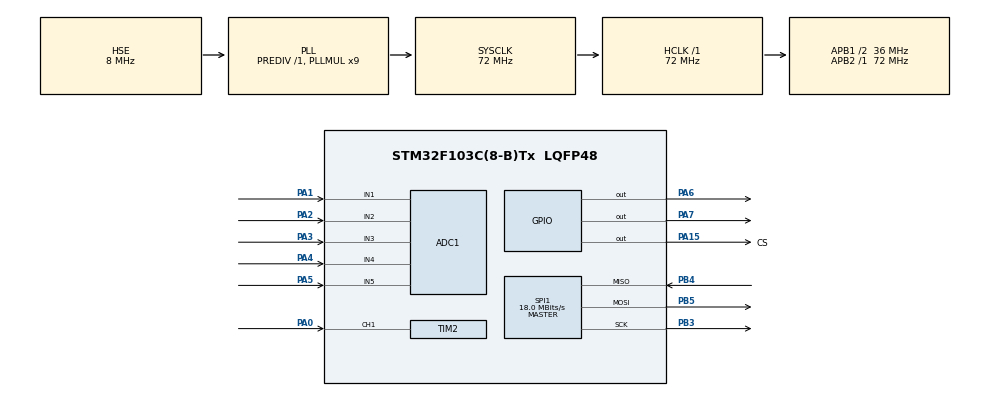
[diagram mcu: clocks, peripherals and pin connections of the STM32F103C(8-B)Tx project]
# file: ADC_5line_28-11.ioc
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ADC1.Channel-0\#ChannelRegularConversion=ADC_CHANNEL_1
ADC1.Channel-1\#ChannelRegularConversion=ADC_CHANNEL_2
ADC1.Channel-2\#ChannelRegularConversion=ADC_CHANNEL_3
ADC1.Channel-3\#ChannelRegularConversion=ADC_CHANNEL_4
ADC1.Channel-4\#ChannelRegularConversion=ADC_CHANNEL_5
ADC1.ContinuousConvMode=DISABLE
ADC1.NbrOfConversion=5
ADC1.NbrOfConversionFlag=1
ADC1.Rank-0\#ChannelRegularConversion=1
ADC1.Rank-1\#ChannelRegularConversion=2
ADC1.Rank-2\#ChannelRegularConversion=3
ADC1.Rank-3\#ChannelRegularConversion=4
ADC1.Rank-4\#ChannelRegularConversion=5
ADC1.SamplingTime-0\#ChannelRegularConversion=ADC_SAMPLETIME_1CYCLE_5
ADC1.SamplingTime-1\#ChannelRegularConversion=ADC_SAMPLETIME_1CYCLE_5
ADC1.SamplingTime-2\#ChannelRegularConversion=ADC_SAMPLETIME_1CYCLE_5
ADC1.SamplingTime-3\#ChannelRegularConversion=ADC_SAMPLETIME_1CYCLE_5
ADC1.SamplingTime-4\#ChannelRegularConversion=ADC_SAMPLETIME_1CYCLE_5
ADC1.master=1
Dma.ADC1.0.Direction=DMA_PERIPH_TO_MEMORY
Dma.ADC1.0.Instance=DMA1_Channel1
Dma.ADC1.0.MemDataAlignment=DMA_MDATAALIGN_HALFWORD
Dma.ADC1.0.MemInc=DMA_MINC_ENABLE
Dma.ADC1.0.Mode=DMA_CIRCULAR
Dma.ADC1.0.PeriphDataAlignment=DMA_PDATAALIGN_HALFWORD
Dma.ADC1.0.PeriphInc=DMA_PINC_DISABLE
Dma.ADC1.0.Priority=DMA_PRIORITY_LOW
Dma.Request0=ADC1
Mcu.Family=STM32F1
Mcu.Name=STM32F103C(8-B)Tx
Mcu.Package=LQFP48
NVIC.DMA1_Channel1_IRQn=true\:0\:0\:false\:false\:true\:false\:true\:true
NVIC.PriorityGroup=NVIC_PRIORITYGROUP_4
NVIC.SPI1_IRQn=true\:1\:0\:true\:false\:true\:true\:true\:true
NVIC.TIM2_IRQn=true\:2\:0\:true\:false\:true\:true\:true\:true
PA0-WKUP.Signal=S_TIM2_CH1_ETR
PA1.Signal=ADCx_IN1
PA13.Mode=Serial_Wire
PA13.Signal=SYS_JTMS-SWDIO
PA14.Mode=Serial_Wire
PA14.Signal=SYS_JTCK-SWCLK
PA15.GPIO_Label=CS
PA15.GPIO_PuPd=GPIO_NOPULL
PA15.PinState=GPIO_PIN_RESET
PA15.Signal=GPIO_Output
PA2.Signal=ADCx_IN2
PA3.Signal=ADCx_IN3
PA4.Signal=ADCx_IN4
PA5.Signal=ADCx_IN5
PA6.Signal=GPIO_Output
PA7.Signal=GPIO_Output
PB3.Mode=Full_Duplex_Master
PB3.Signal=SPI1_SCK
PB4.Mode=Full_Duplex_Master
PB4.Signal=SPI1_MISO
PB5.Mode=Full_Duplex_Master
PB5.Signal=SPI1_MOSI
PD0-OSC_IN.Mode=HSE-External-Oscillator
PD0-OSC_IN.Signal=RCC_OSC_IN
PD1-OSC_OUT.Mode=HSE-External-Oscillator
PD1-OSC_OUT.Signal=RCC_OSC_OUT
ProjectManager.HeapSize=0x200
ProjectManager.StackSize=0x400
ProjectManager.TargetToolchain=MDK-ARM V5.32
RCC.ADCPresc=RCC_ADCPCLK2_DIV6
RCC.AHBFreq_Value=72000000
RCC.APB1CLKDivider=RCC_HCLK_DIV2
RCC.APB1Freq_Value=36000000
RCC.APB1TimFreq_Value=72000000
RCC.APB2Freq_Value=72000000
RCC.APB2TimFreq_Value=72000000
RCC.HCLKFreq_Value=72000000
RCC.PLLMUL=RCC_PLL_MUL9
RCC.PLLSourceVirtual=RCC_PLLSOURCE_HSE
RCC.SYSCLKFreq_VALUE=72000000
RCC.SYSCLKSource=RCC_SYSCLKSOURCE_PLLCLK
RCC.USBFreq_Value=72000000
SH.ADCx_IN1.0=ADC1_IN1,IN1
SH.ADCx_IN2.0=ADC1_IN2,IN2
SH.ADCx_IN3.0=ADC1_IN3,IN3
SH.ADCx_IN4.0=ADC1_IN4,IN4
SH.ADCx_IN5.0=ADC1_IN5,IN5
SH.S_TIM2_CH1_ETR.0=TIM2_CH1,Input_Capture1_from_TI1
SPI1.BaudRatePrescaler=SPI_BAUDRATEPRESCALER_4
SPI1.CalculateBaudRate=18.0 MBits/s
SPI1.Direction=SPI_DIRECTION_2LINES
SPI1.Mode=SPI_MODE_MASTER
SPI1.VirtualType=VM_MASTER
TIM2.Channel-Input_Capture1_from_TI1=TIM_CHANNEL_1
TIM2.Prescaler=71
board=custom

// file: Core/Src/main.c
/* USER CODE BEGIN Header */
/**
  ******************************************************************************
  * @tacgia           : Phan Quoc Viet
  * @gmail         : phanquocviet29@gmail.com
  ******************************************************************************
  * @attention
  *
  * Copyright (c) 2023 STMicroelectronics.
  * All rights reserved.
  *
  * This software is licensed under terms that can be found in the LICENSE file
  * in the root directory of this software component.
  * If no LICENSE file comes with this software, it is provided AS-IS.
  *
  ******************************************************************************
  */
/* USER CODE END Header */
#include "main.h"

/* USER CODE BEGIN Includes */
#define spi_enable HAL_GPIO_WritePin(GPIOA,GPIO_PIN_15,GPIO_PIN_RESET);
#define spi_disable HAL_GPIO_WritePin(GPIOA,GPIO_PIN_15,GPIO_PIN_SET);
#define S2_L HAL_GPIO_WritePin(GPIOA, GPIO_PIN_6, GPIO_PIN_RESET);
#define S2_H HAL_GPIO_WritePin (GPIOA, GPIO_PIN_6, GPIO_PIN_SET);
#define S3_L HAL_GPIO_WritePin(GPIOA, GPIO_PIN_7, GPIO_PIN_RESET);
#define S3_H HAL_GPIO_WritePin(GPIOA, GPIO_PIN_7, GPIO_PIN_SET);
#define BEGIN (digital[2] == 1 && TONG == 0 && digital[1] == 0 && digital[3] == 0 && -4 < pos && pos < 4 && TONG == 0)
#define NOR1 (digital[2] == 1 && digital[1] == 0 && digital[3] == 0 && TONG == 1) // 00100
#define NOR2 (digital[0] == 0 && digital[2] == 1 && digital[1] == 1 && digital[3] == 0 && digital[4] == 0 && TONG == 1) // 01100
#define NOR3 (digital[0] == 0 && digital[1] == 0 && digital[2] == 1  && digital[3] == 1 && digital[4] == 0 && TONG == 1) // 00110
#define OVERRIGTH (digital[0] == 0 && digital[1] == 0 && digital[2] == 1 && digital[3] == 1 && digital[4] == 1 && TONG == 1) // 00010
#define OVERLEFT (digital[0] == 0 && digital[1] == 1 &&  digital[2] == 0  && digital[3] == 0 && digital[4] == 0 && TONG == 1) //01000
#define THKHUNG1 (digital[0] == 1 && digital[1] == 1 && digital[2] == 0 && TONG == 1) //11000
#define THKHUNG2 (digital[2] == 0 && digital[3] == 1 && digital[4] == 1  && TONG == 1)  //00011
#define THKHUNG3 (digital[0] == 1 && digital[1] == 1 && digital[2] == 0 && TONG == 1) //11100
#define THKHUNG4 (digital[2] == 0 && digital[3] == 1 && digital[4] == 1  && TONG == 1)  //00111
#define FIRSTOP (digital[0] == 0 && digital[1] == 1 && digital[2] == 1 && digital[3] == 1 && digital[4] == 0 && Color == 0 && TONG == 1) // 01110
#define GREEN (  digital[2] == 1 && digital[3] == 1 && digital[4] == 0 && blue == 2 && Color == 1  ) //BLUE
#define GREEN1 ( digital[1] == 1 && digital[2] == 1 && digital[3] == 1 && blue == 2 && Color == 1 ) //BLUE
#define GREEN2 (digital[1] == 1 && digital[2] == 1 && digital[3] == 0  && blue == 2 && Color == 1 ) //BLUE
#define GREEN3 ( digital[1] == 1 && digital[2] == 0 && digital[3] == 1  && blue == 2 && Color == 1 ) //BLUE
#define RED  (digital[1] == 0 && digital[2] == 1 && digital[3] == 1  && blue == 3 && Color == 1  ) //RED
#define RED1  ( digital[1] == 1 && digital[2] == 1 && digital[3] == 1 && blue == 3 && Color == 1 ) //RED
#define RED2  (digital[1] == 1 && digital[2] == 1 && digital[3] == 0 && blue == 3 && Color == 1 ) //RED
#define RED3  ( digital[1] == 1 && digital[2] == 0   && digital[3] == 0 && blue == 3 && Color == 1 ) //RED
#define KOLINE1 (digital[1] == 0 && digital[2] == 0 && digital[3] == 0 && digital[4] == 0 && digital[0] == 0 ) // 00000
#define KOLINE2 ( digital[1] == 1 && digital[2] == 1 && digital[3] == 1 && digital[4] == 1 && digital[0] == 1 ) // 11111
/* USER CODE END Includes */

/* USER CODE BEGIN PTD */

//tcrt5000 value
uint16_t u16_ADCScanVal[5],ADCValue[5];
float calib[5];
uint8_t digital[5],pre_digital[5];
uint16_t TONG = 0;
uint16_t TH ;

//color value
extern uint16_t tick ;
unsigned short	icValue = 0;
unsigned short	preIcValue = 0;
unsigned short	T = 0;
unsigned short	f[3] ;
uint16_t Color = 0;
uint16_t blue = 0;
uint16_t cnt = 0;
uint16_t time =0;

uint8_t i; //bien dem vi tri sensor
float sum=0; //tong gia tri adc
uint16_t threshold=2900; //nguong doc line den
uint8_t limit_pos=34; //gioi han sai so vi tri
uint8_t limit_left=0,limit_right=0; //gioi han cam bien do line

//input value
float vR= 300; //van toc dai mong muon (mm/s)
float wR; //van toc goc mong muon (rad/s)
float tsamp=0.01; //thoi gian lay mau (s)

//PID
float kp=0.4;
float ki=0;
float kd=0.024;
float b=186.5; //khoang cach tam 2 banh (mm)
float D=67; //duong kinh banh xe (mm)
float L=48.65; //khoang cach tu truc dong co den mat cam bien
uint16_t ymax=4095;//gia tri lon nhat cam bien tren line den
uint16_t ymin=160; //gia tri nho nhat cam bien tren nen trang
uint16_t high[5] = {4095,4095,4095,4095,4095};
uint16_t low[5] = {160,150,140,150,130};

//calculate value
float pre_e2=0,e2=0; //sai so e2
float inte2=0; //khau tich phan
float vleft=0,vright=0,wleft=0,wright=0; //van toc banh trai va banh phai
float v=0,w=0; //van toc dai va van toc goc

//position value
float weight; //trong so
float slope=0.3959; //do doc gia tri
float intercept=-0.7642; //giao diem truc hoanh
float pos=0; //gia tri vi tri tinh toan

//transmit value
uint8_t txBuffer[4] ; //mang truyen du lieu
//uint8_t dem=0;
/* USER CODE END PTD */

ADC_HandleTypeDef hadc1;
DMA_HandleTypeDef hdma_adc1;

SPI_HandleTypeDef hspi1;

TIM_HandleTypeDef htim2;

/* USER CODE BEGIN PV */

// color

/* USER CODE END PV */

void SystemClock_Config(void);
static void MX_GPIO_Init(void);
static void MX_DMA_Init(void);
static void MX_ADC1_Init(void);
static void MX_SPI1_Init(void);
static void MX_TIM2_Init(void);
/* USER CODE BEGIN PFP */

void read_ADC(void)
{
	//trai qua phai: 0->4
	sum=0;
	HAL_ADC_Start_DMA(&hadc1, (uint32_t*)u16_ADCScanVal,5);
	for (i=0;i<5;i++)
	{
		pre_digital[i]=digital[i];
		ADCValue[i]=u16_ADCScanVal[i];
		if (ADCValue[i] > threshold) digital[i]=1;
		else digital[i]=0;
	}
	calib[0] = ymin + 1*(ADCValue[0]-low[0]) ;
	calib[1] = ymin + 0.997*(ADCValue[1]-low[1]) ;
	calib[2] = ymin + 0.995*(ADCValue[2]-low[2]) ;
	calib[3] = ymin + 0.997*(ADCValue[3]-low[3]) ;
	calib[4] = ymin + 0.992*(ADCValue[4]-low[4]) ;
	sum=calib[0]+calib[1]+calib[2]+calib[3]+calib[4];
	pos = ((-34*calib[0])+(-17*calib[1])+(0*calib[2])+(17*calib[3])+(34*calib[4]))/sum;
}

void calculate_error(void)
{
	pre_e2=e2;
	e2=pos;
	w = kp*e2 + kd*(e2-pre_e2)/tsamp;
  vleft = 0.5*(2*vR - w*b);
  vright = 0.5*(2*vR + w*b);
	wleft=(vleft*60*2/D)/(2*3.14);
	wright=(vright*60*2/D)/(2*3.14);
}

void transmit_value(void)
{
	if (wleft >255) wleft=255;
	else if (wleft<0) wleft=0;
	if (wright > 255) wright=255;
	else if (wright<0) wright=0;
	txBuffer[0] = wleft ;
	txBuffer[1] = wright;
	if (pos<0)	txBuffer[2] = -pos;
	else	txBuffer[2]=pos+100;
	txBuffer[3] = TH;
	spi_enable;
	HAL_SPI_Transmit_IT(&hspi1,txBuffer,4);
}

void HAL_SPI_TxCpltCallback(SPI_HandleTypeDef *hspi)
{
	if (hspi->Instance == hspi1.Instance)
	{
		spi_disable;
	}
}

void filter(int s2, int s3) // func turn on of color sensor
	{
	if(s2 == 0 && s3 == 0){
		S2_L; S3_L;
	}
	if(s2 == 0 && s3 == 1){
		S2_L; S3_H;
	}
	if(s2 == 1 && s3 == 0){
		S2_H; S3_L;
	}
	if(s2 == 1 && s3 == 1){
		S2_H; S3_H;
	}
}

void full(void)
{
	read_ADC();
	calculate_error();
}

void run(void)
{
		HAL_Delay(12);
		full();
		//Bat dau chay
		if(BEGIN)
		{
			HAL_Delay(1500);
			full();
			if(BEGIN) //start
			{
			TH = 1;
			full();
			transmit_value();
			TONG = 1;
			}
		}
		else if( NOR1 || NOR2 || NOR3 || THKHUNG1 || THKHUNG2 || THKHUNG3 || THKHUNG4 ) //Chay binh thuong
		{
			full();
			TH = 1;
			transmit_value();
		}
		else if( OVERLEFT || OVERRIGTH)
		{
			full();
			TH = 1;
			transmit_value();
		}
		else if(FIRSTOP) // stop and read line
			{
			TH = 2;
			transmit_value();
			Color = 1;
  		HAL_TIM_IC_Start_IT(&htim2,TIM_CHANNEL_1);
			}
		else if(GREEN || GREEN1 || GREEN2 || GREEN3) // turn right
			{

			TH = 3  ;
			transmit_value();

		}
		else if(RED || RED1 || RED2 || RED3) // turn left
			{
			TH = 4;
			transmit_value();

			}
		else if (KOLINE1 || KOLINE2 )
		{
			wleft = 0;
			wright = 0;
			TH = 1;
			transmit_value();
		}
}
/* USER CODE END PFP */

void HAL_TIM_IC_CaptureCallback(TIM_HandleTypeDef *htim) // detect color
	{
   if (htim->Instance == TIM2)
		{
   if(tick == 100)
			{
			filter(0,0); //red
			icValue = __HAL_TIM_GetCompare(&htim2, TIM_CHANNEL_1);
			T = icValue - preIcValue;
			preIcValue = icValue;
			f[0] = 1000000 / T;
			}

			if(tick == 200)
			{
			filter(0,1); //blue
			icValue = __HAL_TIM_GetCompare(&htim2, TIM_CHANNEL_1);
			T = icValue - preIcValue;
			preIcValue = icValue;
			f[2] = 1000000 / T;
			}
		 if(f[0] < 30000   )
			{
				blue = 2; // blue
				time++;
			}
			else if (f[0] > 40000 )
			{
				blue = 3; // red
				time++;
			}

			if(time == 60000)
			{
				cnt++;
				if(cnt == 10)
				HAL_TIM_IC_Stop_IT(&htim2,TIM_CHANNEL_1);
			}

			}

}

int main(void)
{

  HAL_Init();

  SystemClock_Config();

  MX_GPIO_Init();
  MX_DMA_Init();
  MX_ADC1_Init();
  MX_SPI1_Init();
  MX_TIM2_Init();
  /* Infinite loop */
  /* USER CODE BEGIN WHILE */
  while (1)
  {
		run();
	}
    /* USER CODE END WHILE */

}

void SystemClock_Config(void)
{
  RCC_OscInitTypeDef RCC_OscInitStruct = {0};
  RCC_ClkInitTypeDef RCC_ClkInitStruct = {0};
  RCC_PeriphCLKInitTypeDef PeriphClkInit = {0};

  /** Initializes the RCC Oscillators according to the specified parameters
  * in the RCC_OscInitTypeDef structure.
  */
  RCC_OscInitStruct.OscillatorType = RCC_OSCILLATORTYPE_HSE;
  RCC_OscInitStruct.HSEState = RCC_HSE_ON;
  RCC_OscInitStruct.HSEPredivValue = RCC_HSE_PREDIV_DIV1;
  RCC_OscInitStruct.HSIState = RCC_HSI_ON;
  RCC_OscInitStruct.PLL.PLLState = RCC_PLL_ON;
  RCC_OscInitStruct.PLL.PLLSource = RCC_PLLSOURCE_HSE;
  RCC_OscInitStruct.PLL.PLLMUL = RCC_PLL_MUL9;
  if (HAL_RCC_OscConfig(&RCC_OscInitStruct) != HAL_OK)
  {
    Error_Handler();
  }

  /** Initializes the CPU, AHB and APB buses clocks
  */
  RCC_ClkInitStruct.ClockType = RCC_CLOCKTYPE_HCLK|RCC_CLOCKTYPE_SYSCLK
                              |RCC_CLOCKTYPE_PCLK1|RCC_CLOCKTYPE_PCLK2;
  RCC_ClkInitStruct.SYSCLKSource = RCC_SYSCLKSOURCE_PLLCLK;
  RCC_ClkInitStruct.AHBCLKDivider = RCC_SYSCLK_DIV1;
  RCC_ClkInitStruct.APB1CLKDivider = RCC_HCLK_DIV2;
  RCC_ClkInitStruct.APB2CLKDivider = RCC_HCLK_DIV1;

  if (HAL_RCC_ClockConfig(&RCC_ClkInitStruct, FLASH_LATENCY_2) != HAL_OK)
  {
    Error_Handler();
  }
  PeriphClkInit.PeriphClockSelection = RCC_PERIPHCLK_ADC;
  PeriphClkInit.AdcClockSelection = RCC_ADCPCLK2_DIV6;
  if (HAL_RCCEx_PeriphCLKConfig(&PeriphClkInit) != HAL_OK)
  {
    Error_Handler();
  }
}

static void MX_ADC1_Init(void)
{

  ADC_ChannelConfTypeDef sConfig = {0};

  /** Common config
  */
  hadc1.Instance = ADC1;
  hadc1.Init.ScanConvMode = ADC_SCAN_ENABLE;
  hadc1.Init.ContinuousConvMode = DISABLE;
  hadc1.Init.DiscontinuousConvMode = DISABLE;
  hadc1.Init.ExternalTrigConv = ADC_SOFTWARE_START;
  hadc1.Init.DataAlign = ADC_DATAALIGN_RIGHT;
  hadc1.Init.NbrOfConversion = 5;
  if (HAL_ADC_Init(&hadc1) != HAL_OK)
  {
    Error_Handler();
  }

  /** Configure Regular Channel
  */
  sConfig.Channel = ADC_CHANNEL_1;
  sConfig.Rank = ADC_REGULAR_RANK_1;
  sConfig.SamplingTime = ADC_SAMPLETIME_1CYCLE_5;
  if (HAL_ADC_ConfigChannel(&hadc1, &sConfig) != HAL_OK)
  {
    Error_Handler();
  }

  /** Configure Regular Channel
  */
  sConfig.Channel = ADC_CHANNEL_2;
  sConfig.Rank = ADC_REGULAR_RANK_2;
  if (HAL_ADC_ConfigChannel(&hadc1, &sConfig) != HAL_OK)
  {
    Error_Handler();
  }

  /** Configure Regular Channel
  */
  sConfig.Channel = ADC_CHANNEL_3;
  sConfig.Rank = ADC_REGULAR_RANK_3;
  if (HAL_ADC_ConfigChannel(&hadc1, &sConfig) != HAL_OK)
  {
    Error_Handler();
  }

  /** Configure Regular Channel
  */
  sConfig.Channel = ADC_CHANNEL_4;
  sConfig.Rank = ADC_REGULAR_RANK_4;
  if (HAL_ADC_ConfigChannel(&hadc1, &sConfig) != HAL_OK)
  {
    Error_Handler();
  }

  /** Configure Regular Channel
  */
  sConfig.Channel = ADC_CHANNEL_5;
  sConfig.Rank = ADC_REGULAR_RANK_5;
  if (HAL_ADC_ConfigChannel(&hadc1, &sConfig) != HAL_OK)
  {
    Error_Handler();
  }

}

static void MX_SPI1_Init(void)
{

  /* SPI1 parameter configuration*/
  hspi1.Instance = SPI1;
  hspi1.Init.Mode = SPI_MODE_MASTER;
  hspi1.Init.Direction = SPI_DIRECTION_2LINES;
  hspi1.Init.DataSize = SPI_DATASIZE_8BIT;
  hspi1.Init.CLKPolarity = SPI_POLARITY_LOW;
  hspi1.Init.CLKPhase = SPI_PHASE_1EDGE;
  hspi1.Init.NSS = SPI_NSS_SOFT;
  hspi1.Init.BaudRatePrescaler = SPI_BAUDRATEPRESCALER_4;
  hspi1.Init.FirstBit = SPI_FIRSTBIT_MSB;
  hspi1.Init.TIMode = SPI_TIMODE_DISABLE;
  hspi1.Init.CRCCalculation = SPI_CRCCALCULATION_DISABLE;
  hspi1.Init.CRCPolynomial = 10;
  if (HAL_SPI_Init(&hspi1) != HAL_OK)
  {
    Error_Handler();
  }

}

static void MX_TIM2_Init(void)
{

  TIM_MasterConfigTypeDef sMasterConfig = {0};
  TIM_IC_InitTypeDef sConfigIC = {0};

  htim2.Instance = TIM2;
  htim2.Init.Prescaler = 71;
  htim2.Init.CounterMode = TIM_COUNTERMODE_UP;
  htim2.Init.Period = 200000;
  htim2.Init.ClockDivision = TIM_CLOCKDIVISION_DIV1;
  htim2.Init.AutoReloadPreload = TIM_AUTORELOAD_PRELOAD_DISABLE;
  if (HAL_TIM_IC_Init(&htim2) != HAL_OK)
  {
    Error_Handler();
  }
  sMasterConfig.MasterOutputTrigger = TIM_TRGO_RESET;
  sMasterConfig.MasterSlaveMode = TIM_MASTERSLAVEMODE_DISABLE;
  if (HAL_TIMEx_MasterConfigSynchronization(&htim2, &sMasterConfig) != HAL_OK)
  {
    Error_Handler();
  }
  sConfigIC.ICPolarity = TIM_INPUTCHANNELPOLARITY_RISING;
  sConfigIC.ICSelection = TIM_ICSELECTION_DIRECTTI;
  sConfigIC.ICPrescaler = TIM_ICPSC_DIV1;
  sConfigIC.ICFilter = 0;
  if (HAL_TIM_IC_ConfigChannel(&htim2, &sConfigIC, TIM_CHANNEL_1) != HAL_OK)
  {
    Error_Handler();
  }

}

static void MX_DMA_Init(void)
{

  /* DMA controller clock enable */
  __HAL_RCC_DMA1_CLK_ENABLE();

  /* DMA interrupt init */
  /* DMA1_Channel1_IRQn interrupt configuration */
  HAL_NVIC_SetPriority(DMA1_Channel1_IRQn, 0, 0);
  HAL_NVIC_EnableIRQ(DMA1_Channel1_IRQn);

}

static void MX_GPIO_Init(void)
{
  GPIO_InitTypeDef GPIO_InitStruct = {0};

  /* GPIO Ports Clock Enable */
  __HAL_RCC_GPIOD_CLK_ENABLE();
  __HAL_RCC_GPIOA_CLK_ENABLE();
  __HAL_RCC_GPIOB_CLK_ENABLE();

  /*Configure GPIO pin Output Level */
  HAL_GPIO_WritePin(GPIOA, GPIO_PIN_6|GPIO_PIN_7|CS_Pin, GPIO_PIN_RESET);

  /*Configure GPIO pins : PA6 PA7 CS_Pin */
  GPIO_InitStruct.Pin = GPIO_PIN_6|GPIO_PIN_7|CS_Pin;
  GPIO_InitStruct.Mode = GPIO_MODE_OUTPUT_PP;
  GPIO_InitStruct.Pull = GPIO_NOPULL;
  GPIO_InitStruct.Speed = GPIO_SPEED_FREQ_LOW;
  HAL_GPIO_Init(GPIOA, &GPIO_InitStruct);

}

void Error_Handler(void)
{
  __disable_irq();
  while (1)
  {
  }
}
